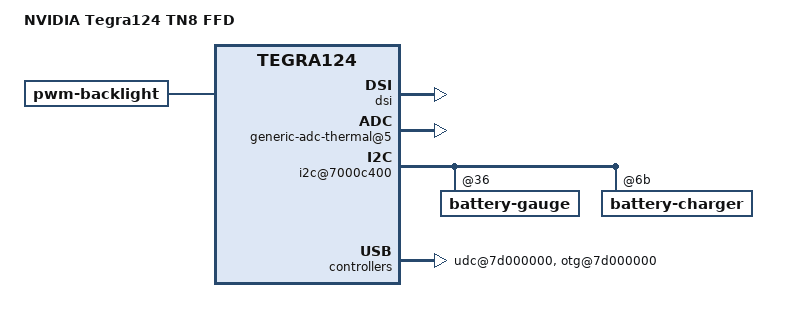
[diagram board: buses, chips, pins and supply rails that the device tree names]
/*
 * arch/arm/boot/dts/tegra124-tn8-p1761-1270-a00.dts
 *
 * Copyright (c) 2014-2015, NVIDIA CORPORATION.  All rights reserved.
 *
 * This program is free software; you can redistribute it and/or modify
 * it under the terms of the GNU General Public License as published by
 * the Free Software Foundation; either version 2 of the License, or
 * (at your option) any later version.
 *
 * This program is distributed in the hope that it will be useful, but WITHOUT
 * ANY WARRANTY; without even the implied warranty of MERCHANTABILITY or
 * FITNESS FOR A PARTICULAR PURPOSE.  See the GNU General Public License for
 * more details.
 *
 * You should have received a copy of the GNU General Public License along
 * with this program; if not, write to the Free Software Foundation, Inc.,
 * 51 Franklin Street, Fifth Floor, Boston, MA  02110-1301, USA.
 */
/dts-v1/;

#include "tegra124-tn8.dtsi"
#include "tegra124-platforms/tegra124-tn8-dfll.dtsi"
#include "tegra124-platforms/tegra124-tn8-emc-p1761-1270-a00.dtsi"
#include "tegra124-platforms/tegra124-tn8-power-tree-e1936-1000-a00.dtsi"
#include "tegra124-platforms/tegra124-tn8-sensor-p1761-1470-a00.dtsi"
#include "tegra124-platforms/tegra124-tn8-pinmux-p1761-1470-a00.dtsi"
#include "tegra124-platforms/tegra124-tn8-gpio-p1761-1470-a00.dtsi"
#include "tegra124-platforms/tegra124-tn8-keys-e1780-1100-a02.dtsi"
#include "tegra124-platforms/tegra124-tn8-powermon-p1761-a00.dtsi"
#include "tegra124-platforms/tegra124-tn8-camera-p1761-a00.dtsi"
#include "tegra124-platforms/tegra124-tn8-sysedp-e1780-1100-a02.dtsi"
#include "panel-a-wxga-8-0.dtsi"
#include "panel-a-wuxga-8-0.dtsi"
#include "tegra124-platforms/tegra124-tn8-hdmi-p1761-1270-a00.dtsi"
#include "tegra124-platforms/tegra124-tn8-thermal-zone-p1761-1270-a00.dtsi"
#include "tegra124-platforms/tegra124-tn8-cmu-p1761-1270-a00.dtsi"
#include "tegra124-platforms/tegra124-tn8-comms.dtsi"

/ {
	model = "NVIDIA Tegra124 TN8 FFD";
	compatible = "nvidia,tn8", "nvidia,tegra124";
	nvidia,dtsfilename = __FILE__;
	nvidia,boardids = "1761:1270:0";
	#address-cells = <2>;
	#size-cells = <2>;

	chosen {
		bootargs = "tegraid=40.0.0.00.00 vmalloc=256M video=tegrafb console=ttyS0,115200n8 earlyprintk";
		linux,initrd-start = <0x85000000>;
		linux,initrd-end = <0x851bc400>;
	};

	firmware {
		android {
			compatible = "android,firmware";
			hardware = "tn8";
		};
	};

	host1x {
		/* tegradc.0 */
		dc@54200000 {
			status = "okay";
			nvidia,dc-flags = <TEGRA_DC_FLAG_ENABLED>;
			nvidia,emc-clk-rate = <204000000>;
			nvidia,cmu-enable = <1>;
			nvidia,low-v-win = <0x2>;
			nvidia,fb-bpp = <32>; /* bits per pixel */
			nvidia,fb-flags = <TEGRA_FB_FLIP_ON_PROBE>;
		};
		/* tegradc.1 */
		dc@54240000 {
			status = "okay";
			nvidia,dc-flags = <TEGRA_DC_FLAG_ENABLED>;
			nvidia,emc-clk-rate = <300000000>;
			nvidia,cmu-enable = <1>;
			nvidia,fb-bpp = <32>; /* bits per pixel */
			nvidia,fb-flags = <TEGRA_FB_FLIP_ON_PROBE>;
		};
		dsi {
			nvidia,dsi-controller-vs = <DSI_VS_1>;
			status = "okay";
			panel-a-wxga-8-0 {
				nvidia,dsi-dpd-pads = <DSIC_DPD_EN DSID_DPD_EN>;
				nvidia,dsi-boardinfo = <1761 0 0 0>;
				nvidia,panel-rst-gpio = <&gpio TEGRA_GPIO(H, 3) 0>; /* PH3 */
				nvidia,panel-bl-pwm-gpio = <&gpio TEGRA_GPIO(H, 1) 0>; /* PH1 */
				disp-default-out {
					nvidia,out-rotation = <180>;
				};
			};
			panel-a-wuxga-8-0 {
				nvidia,dsi-dpd-pads = <DSIC_DPD_EN DSID_DPD_EN>;
				nvidia,dsi-boardinfo = <1761 0 0 1>;
				nvidia,panel-rst-gpio = <&gpio TEGRA_GPIO(N, 4) 0>; /* PN4 */
				nvidia,panel-bl-pwm-gpio = <&gpio TEGRA_GPIO(H, 1) 0>; /* PH1 */
				disp-default-out {
					nvidia,out-rotation = <180>;
					nvidia,out-flags = <TEGRA_DC_OUT_CONTINUOUS_MODE TEGRA_DC_OUT_INITIALIZED_MODE>;
				};
				smartdimmer {
					status = "disabled";
				};
			};
		};
	};

	psy_extcon {
		power-supply,y-cable-extcon-dev = "tegra-otg";
	};

	generic-adc-thermal@5 {
		status = "okay";
	};

	thermal-zones {
		Battery {
			status = "okay";
		};
	};
	backlight {
		compatible = "pwm-backlight";
		status = "okay";
		panel-a-wuxga-8-0-bl {
			bl-measured = < 0 1 2 4 5 6 7 8
					10 11 12 13 14 14 15 16
					17 18 18 19 20 21 22 23
					24 25 26 27 28 29 30 31
					32 33 34 35 36 37 38 39
					40 41 42 43 44 45 46 47
					48 49 50 51 52 53 54 55
					55 56 57 58 59 60 61 62
					63 64 65 66 67 68 69 70
					71 72 73 74 75 76 77 78
					79 80 81 82 83 84 85 86
					87 88 89 90 91 92 93 94
					95 96 97 98 99 100 101 102
					103 104 105 106 107 108 109 110
					111 112 113 114 115 116 117 118
					119 120 121 122 123 124 125 126
					127 128 129 130 131 132 133 134
					135 136 137 138 139 140 141 142
					143 144 145 146 147 148 149 150
					151 152 153 154 155 156 157 158
					159 160 161 162 163 164 165 166
					167 168 169 170 171 172 173 174
					175 176 177 178 179 180 181 182
					183 184 185 186 187 188 189 190
					191 192 193 194 195 196 197 198
					199 200 201 202 203 204 205 206
					207 208 209 210 211 212 213 214
					215 216 217 218 219 220 221 222
					223 224 225 226 227 228 229 230
					231 232 233 234 235 236 237 238
					239 240 241 242 243 244 245 246
					247 248 249 250 251 253 254 255 >;
			bl-nonlinear = < 0 1 1 2 2 3 3 4
					 4 5 5 6 7 7 8 8
					 9 9 10 10 11 11 12 12
					 13 14 14 15 15 16 16 17
					 17 18 18 19 20 20 21 21
					 22 22 23 23 24 24 25 25
					 26 27 27 28 28 29 29 30
					 30 31 31 32 33 33 34 34
					 35 35 36 36 37 37 38 38
					 39 40 40 41 41 42 42 43
					 43 44 44 45 46 46 47 47
					 48 48 49 49 50 50 51 52
					 52 53 53 54 54 55 55 56
					 56 57 57 58 59 59 60 60
					 61 61 62 62 63 63 64 65
					 65 66 66 67 67 68 68 69
					 69 70 70 71 72 72 73 73
					 74 74 75 75 76 76 77 78
					 78 79 79 80 80 81 81 82
					 82 83 83 84 85 85 86 86
					 87 87 88 88 89 89 90 92
					 94 96 97 99 101 103 105 107
					 109 110 112 114 116 118 120 122
					 123 125 127 129 131 133 134 136
					 138 140 142 144 146 147 149 151
					 153 155 157 159 160 162 164 166
					 168 170 172 173 175 177 179 181
					 183 185 186 188 190 192 194 196
					 198 199 201 203 205 207 209 211
					 212 214 216 218 220 222 223 225
					 227 229 231 233 235 236 238 240
					 242 244 246 248 249 251 253 255 >;
		};
	};

	i2c@7000c400 {
		battery-gauge@36 {
			dt-override-status-odm-data = <0x00C00000 0x00400000>;
		};

		battery-charger@6b {
			charger {
				dt-override-status-odm-data = <0x00C00000 0x00400000>;
			};
		};
	};

	sysedp_batmon_calc {
		dt-override-status-odm-data = <0x00C00000 0x00400000>;
	};

	udc@7d000000 {
		nvidia,id-detection-type = <1>;
		nvidia,enable-pmu-vbus-detection;
		nvidia,enable-aca-rid-detection;
		extcon-cables = <&extcon_cable_xlate 0 &extcon_cable_xlate 2 &extcon_cable_xlate 5>;
		extcon-cable-names = "vbus", "aca-rb", "aca-rc";
		#extcon-cells = <1>;
		status = "okay";
	};

	otg@7d000000 {
		nvidia,enable-pmu-vbus-detection;
		nvidia,id-detection-type = <1>;
		nvidia,enable-y-cable-detection;
		nvidia,enable-aca-rid-detection;
		extcon-cables = <&extcon_cable_xlate 0 &extcon_cable_xlate 1 &extcon_cable_xlate 2 &extcon_cable_xlate 3 &extcon_cable_xlate 4 &extcon_cable_xlate 5>;
		extcon-cable-names = "vbus", "id", "aca-ra", "y-cable", "aca-rb", "aca-rc";
		#extcon-cells = <1>;
		status = "okay";
	};

	ehci@7d000000 {
		nvidia,port-otg;
		nvidia,has-hostpc;
		nvidia,turn-off-vbus-on-lp0;
		nvidia,id-detection-type = <2>;
		nvidia,hssync-start-delay = <0>;
		nvidia,idle-wait-delay = <17>;
		nvidia,elastic-limit = <16>;
		nvidia,term-range-adj = <6>;
		nvidia,xcvr-setup = <15>;
		nvidia,xcvr-lsfslew = <2>;
		nvidia,xcvr-lsrslew = <2>;
		nvidia,xcvr-use-fuses;
		nvidia,vbus-oc-map = <4>;
		nvidia,xcvr-setup-offset = <0>;
		status = "disabled";
	};
};

